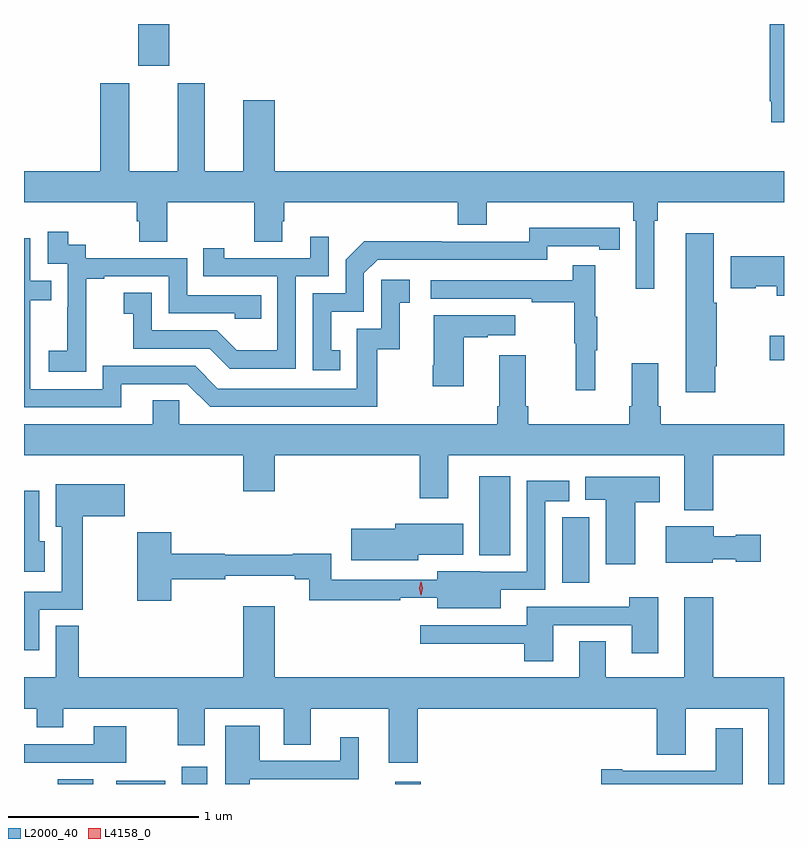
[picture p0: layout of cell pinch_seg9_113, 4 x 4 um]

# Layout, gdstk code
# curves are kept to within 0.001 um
import gdstk
lib = gdstk.Library(unit=1e-6, precision=1e-09)
def R(c, l, rs):  # rectangles x0, y0, x1, y1
    for r in rs: c.add(gdstk.rectangle(r[:2], r[2:], *l))
def P(c, l, *ps):  # polygons
    for p in ps: c.add(gdstk.Polygon(p, *l))
L2000_40 = (2000, 40)
L4158_0 = (4158, 0)

pinch_seg9_113 = lib.new_cell('pinch_seg9_113')
R(pinch_seg9_113, L2000_40, [(859.334,1230.655,859.522,1230.679), (859.643,1230.655,859.9,1230.673), (859.988,1230.655,860.122,1230.745), (861.11,1230.655,861.245,1230.667), (861.989,1231.713,862.132,1232.059), (861.554,1231.859,861.715,1232.275), (863.082,1232.884,863.157,1233.013), (859.757,1234.434,859.921,1234.655)])
P(pinch_seg9_113, L2000_40, [(863.157,1234.655),(863.083,1234.655),(863.083,1234.249),(863.091,1234.249),(863.091,1234.137),(863.157,1234.137)],
  [(860.476,1234.255),(860.312,1234.255),(860.312,1233.88),(860.107,1233.88),(860.107,1234.342),(859.967,1234.342),(859.967,1233.88),(859.711,1233.88),(859.711,1234.342),(859.559,1234.342),(859.559,1233.88),(859.157,1233.88),(859.157,1233.716),(859.751,1233.716),(859.751,1233.618),(859.763,1233.618),(859.763,1233.508),(859.911,1233.508),(859.911,1233.716),(860.368,1233.716),(860.368,1233.508),(860.515,1233.508),(860.515,1233.618),(860.528,1233.618),(860.528,1233.716),(861.44,1233.716),(861.44,1233.599),(861.592,1233.599),(861.592,1233.716),(862.364,1233.716),(862.364,1233.62),(862.377,1233.62),(862.377,1233.261),(862.474,1233.261),(862.474,1233.62),(862.493,1233.62),(862.493,1233.716),(863.157,1233.716),(863.157,1233.88),(860.476,1233.88)],
  [(860.822,1232.937),(860.773,1232.937),(860.773,1233.141),(860.946,1233.141),(860.946,1233.342),(861.018,1233.414),(861.912,1233.414),(861.912,1233.486),(862.184,1233.486),(862.184,1233.466),(862.292,1233.466),(862.292,1233.582),(861.816,1233.583),(861.816,1233.51),(861.356,1233.51),(861.356,1233.512),(860.948,1233.512),(860.85,1233.414),(860.85,1233.237),(860.676,1233.237),(860.676,1232.832),(860.822,1232.832)],
  [(859.485,1233.031),(859.484,1233.031),(859.484,1233.315),(859.579,1233.315),(859.579,1233.327),(859.92,1233.327),(859.92,1233.132),(860.265,1233.132),(860.265,1233.105),(860.405,1233.105),(860.405,1233.228),(860.016,1233.228),(860.016,1233.423),(859.482,1233.423),(859.482,1233.492),(859.39,1233.492),(859.39,1233.562),(859.281,1233.562),(859.281,1233.393),(859.386,1233.393),(859.386,1233.164),(859.385,1233.164),(859.385,1232.935),(859.287,1232.935),(859.287,1232.825),(859.485,1232.825)],
  [(862.794,1232.853),(862.804,1232.853),(862.804,1233.189),(862.786,1233.189),(862.786,1233.553),(862.64,1233.553),(862.64,1232.718),(862.794,1232.718)],
  [(860.586,1233.327),(860.76,1233.327),(860.76,1233.535),(860.663,1233.535),(860.663,1233.423),(860.212,1233.423),(860.212,1233.475),(860.101,1233.475),(860.101,1233.327),(860.49,1233.327),(860.49,1232.938),(860.276,1232.938),(860.172,1233.042),(859.83,1233.042),(859.83,1233.241),(859.683,1233.241),(859.683,1233.131),(859.732,1233.131),(859.732,1232.946),(860.135,1232.946),(860.24,1232.841),(860.586,1232.841)],
  [(859.669,1232.76),(860.016,1232.76),(860.136,1232.64),(861.016,1232.64),(861.016,1232.943),(861.134,1232.943),(861.134,1233.189),(861.187,1233.189),(861.187,1233.31),(861.036,1233.31),(861.036,1233.051),(860.907,1233.051),(860.907,1232.736),(860.178,1232.736),(860.058,1232.856),(859.572,1232.856),(859.572,1232.733),(859.191,1232.733),(859.191,1233.202),(859.301,1233.202),(859.301,1233.303),(859.191,1233.303),(859.191,1233.528),(859.157,1233.528),(859.157,1232.637),(859.669,1232.637)],
  [(863.157,1233.433),(862.878,1233.433),(862.878,1233.263),(863.007,1233.263),(863.007,1233.275),(863.12,1233.275),(863.12,1233.225),(863.157,1233.225)],
  [(862.163,1232.939),(862.174,1232.939),(862.174,1233.113),(862.163,1233.113),(862.163,1233.385),(862.045,1233.385),(862.045,1233.306),(861.297,1233.306),(861.297,1233.21),(861.829,1233.21),(861.829,1233.19),(862.053,1233.19),(862.053,1232.976),(862.06,1232.976),(862.06,1232.727),(862.163,1232.727)],
  [(861.472,1233.007),(861.599,1233.007),(861.599,1233.017),(861.742,1233.017),(861.742,1233.121),(861.314,1233.121),(861.314,1232.86),(861.307,1232.86),(861.307,1232.748),(861.472,1232.748)],
  [(862.784,1232.384),(863.157,1232.384),(863.157,1232.548),(862.508,1232.548),(862.508,1232.644),(862.495,1232.644),(862.495,1232.869),(862.355,1232.869),(862.355,1232.644),(862.343,1232.644),(862.343,1232.548),(861.812,1232.548),(861.812,1232.644),(861.799,1232.644),(861.799,1232.911),(861.659,1232.911),(861.659,1232.644),(861.647,1232.644),(861.647,1232.548),(859.974,1232.548),(859.974,1232.675),(859.835,1232.675),(859.835,1232.548),(859.157,1232.548),(859.157,1232.384),(860.312,1232.384),(860.312,1232.196),(860.476,1232.196),(860.476,1232.384),(861.239,1232.384),(861.239,1232.16),(861.391,1232.16),(861.391,1232.384),(862.631,1232.384),(862.631,1232.096),(862.784,1232.096)],
  [(862.375,1232.138),(862.504,1232.138),(862.504,1232.272),(862.112,1232.272),(862.112,1232.15),(862.22,1232.15),(862.22,1231.812),(862.375,1231.812)],
  [(861.667,1231.677),(861.9,1231.677),(861.9,1232.144),(862.027,1232.144),(862.027,1232.251),(861.804,1232.251),(861.804,1231.773),(861.558,1231.773),(861.558,1231.774),(861.332,1231.774),(861.332,1231.731),(860.775,1231.731),(860.775,1231.868),(860.572,1231.868),(860.572,1231.861),(860.214,1231.861),(860.214,1231.868),(859.931,1231.868),(859.931,1231.981),(859.753,1231.981),(859.753,1231.62),(859.931,1231.62),(859.931,1231.732),(860.216,1231.732),(860.216,1231.751),(860.582,1231.751),(860.582,1231.732),(860.659,1231.732),(860.659,1231.623),(861.136,1231.623),(861.136,1231.634),(861.332,1231.634),(861.332,1231.58),(861.667,1231.58)],
  [(859.236,1231.572),(859.466,1231.572),(859.466,1232.063),(859.687,1232.063),(859.687,1232.233),(859.325,1232.233),(859.325,1232.009),(859.355,1232.009),(859.355,1231.668),(859.157,1231.668),(859.157,1231.358),(859.236,1231.358)],
  [(859.267,1231.932),(859.236,1231.932),(859.236,1232.198),(859.157,1232.198),(859.157,1231.773),(859.267,1231.773)],
  [(861.232,1231.862),(861.469,1231.862),(861.469,1232.026),(861.11,1232.026),(861.11,1231.998),(860.88,1231.998),(860.88,1231.832),(861.232,1231.832)],
  [(862.782,1231.838),(862.902,1231.838),(862.902,1231.826),(863.035,1231.826),(863.035,1231.968),(862.902,1231.968),(862.902,1231.96),(862.786,1231.96),(862.786,1232.011),(862.535,1232.011),(862.535,1231.82),(862.782,1231.82)],
  [(863.157,1231.216),(862.784,1231.216),(862.784,1231.639),(862.631,1231.639),(862.631,1231.216),(862.219,1231.216),(862.219,1231.406),(862.079,1231.406),(862.079,1231.216),(860.476,1231.216),(860.476,1231.591),(860.312,1231.591),(860.312,1231.216),(859.444,1231.216),(859.444,1231.487),(859.325,1231.487),(859.325,1231.216),(859.157,1231.216),(859.157,1231.052),(859.223,1231.052),(859.223,1230.953),(859.363,1230.953),(859.363,1231.052),(859.967,1231.052),(859.967,1230.858),(860.107,1230.858),(860.107,1231.052),(860.525,1231.052),(860.525,1230.862),(860.665,1230.862),(860.665,1231.052),(861.077,1231.052),(861.077,1230.768),(861.23,1230.768),(861.23,1231.052),(862.487,1231.052),(862.487,1230.809),(862.639,1230.809),(862.639,1231.052),(863.075,1231.052),(863.075,1230.655),(863.157,1230.655)],
  [(861.943,1231.491),(862.355,1231.491),(862.355,1231.344),(862.495,1231.344),(862.495,1231.639),(862.343,1231.639),(862.343,1231.587),(861.803,1231.587),(861.803,1231.491),(861.243,1231.491),(861.243,1231.394),(861.791,1231.394),(861.791,1231.302),(861.943,1231.302)],
  [(860.346,1230.681),(860.92,1230.681),(860.92,1230.901),(860.822,1230.901),(860.822,1230.777),(860.398,1230.777),(860.398,1230.961),(860.216,1230.961),(860.216,1230.655),(860.346,1230.655)],
  [(859.696,1230.958),(859.523,1230.958),(859.523,1230.864),(859.157,1230.864),(859.157,1230.768),(859.696,1230.768)],
  [(862.939,1230.949),(862.799,1230.949),(862.799,1230.724),(862.306,1230.724),(862.306,1230.732),(862.194,1230.732),(862.194,1230.655),(862.939,1230.655)])
P(pinch_seg9_113, L4158_0, [(861.246,1231.649),(861.246,1231.649),(861.236,1231.684),(861.246,1231.72),(861.246,1231.72),(861.247,1231.72),(861.256,1231.684),(861.247,1231.649)])

lib.write_gds('pinch_seg9_113.gds')
